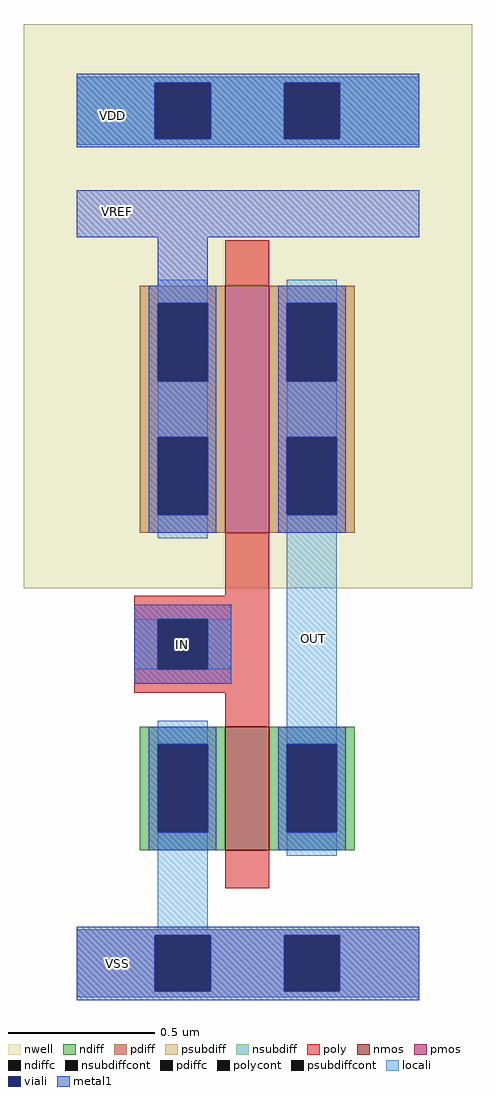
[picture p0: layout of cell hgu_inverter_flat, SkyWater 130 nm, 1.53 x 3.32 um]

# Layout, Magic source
magic
tech sky130A
magscale 1 2
<< nwell >>
rect 379 440 684 824
<< nmos >>
rect 516 262 546 346
<< pmos >>
rect 516 478 546 646
<< ndiff >>
rect 458 334 516 346
rect 458 274 470 334
rect 504 274 516 334
rect 458 262 516 274
rect 546 334 604 346
rect 546 274 558 334
rect 592 274 604 334
rect 546 262 604 274
<< pdiff >>
rect 458 634 516 646
rect 458 581 470 634
rect 504 581 516 634
rect 458 543 516 581
rect 458 490 470 543
rect 504 490 516 543
rect 458 478 516 490
rect 546 634 604 646
rect 546 581 558 634
rect 592 581 604 634
rect 546 543 604 581
rect 546 490 558 543
rect 592 490 604 543
rect 546 478 604 490
<< ndiffc >>
rect 470 274 504 334
rect 558 274 592 334
<< pdiffc >>
rect 470 581 504 634
rect 470 490 504 543
rect 558 581 592 634
rect 558 490 592 543
<< psubdiff >>
rect 415 204 648 208
rect 415 166 468 204
rect 506 166 556 204
rect 594 166 648 204
rect 415 162 648 166
<< nsubdiff >>
rect 415 784 648 788
rect 415 746 468 784
rect 506 746 556 784
rect 594 746 648 784
rect 415 742 648 746
<< psubdiffcont >>
rect 468 166 506 204
rect 556 166 594 204
<< nsubdiffcont >>
rect 468 746 506 784
rect 556 746 594 784
<< poly >>
rect 516 646 546 677
rect 516 435 546 478
rect 454 419 546 435
rect 454 385 470 419
rect 504 385 546 419
rect 454 369 546 385
rect 516 346 546 369
rect 516 236 546 262
<< polycont >>
rect 470 385 504 419
<< locali >>
rect 415 784 648 788
rect 415 746 468 784
rect 506 746 556 784
rect 594 746 648 784
rect 415 742 648 746
rect 470 634 504 650
rect 470 543 504 581
rect 470 474 504 490
rect 558 634 592 650
rect 558 543 592 581
rect 454 385 470 419
rect 504 385 520 419
rect 470 334 504 350
rect 470 208 504 274
rect 558 334 592 490
rect 558 258 592 274
rect 415 204 648 208
rect 415 166 468 204
rect 506 166 556 204
rect 594 166 648 204
rect 415 162 648 166
<< viali >>
rect 468 746 506 784
rect 556 746 594 784
rect 470 581 504 634
rect 470 490 504 543
rect 558 581 592 634
rect 558 490 592 543
rect 470 385 504 419
rect 470 274 504 334
rect 558 274 592 334
rect 468 166 506 204
rect 556 166 594 204
<< metal1 >>
rect 415 784 648 790
rect 415 746 468 784
rect 506 746 556 784
rect 594 746 648 784
rect 415 740 648 746
rect 415 679 648 711
rect 470 646 504 679
rect 464 634 510 646
rect 464 581 470 634
rect 504 581 510 634
rect 464 543 510 581
rect 464 490 470 543
rect 504 490 510 543
rect 464 478 510 490
rect 552 634 598 646
rect 552 581 558 634
rect 592 581 598 634
rect 552 543 598 581
rect 552 490 558 543
rect 592 490 598 543
rect 552 478 598 490
rect 454 419 520 429
rect 454 385 470 419
rect 504 385 520 419
rect 454 375 520 385
rect 464 334 510 346
rect 464 274 470 334
rect 504 274 510 334
rect 464 262 510 274
rect 552 334 598 346
rect 552 274 558 334
rect 592 274 598 334
rect 552 262 598 274
rect 415 204 648 210
rect 415 166 468 204
rect 506 166 556 204
rect 594 166 648 204
rect 415 160 648 166
<< labels >>
flabel locali 566 388 586 424 0 FreeSans 160 0 0 0 OUT
port 15 nsew
flabel metal1 429 689 456 704 0 FreeSans 160 0 0 0 VREF
port 19 nsew
flabel metal1 422 749 457 774 0 FreeSans 160 0 0 0 VDD
port 22 nsew
flabel metal1 426 174 460 196 0 FreeSans 160 0 0 0 VSS
port 24 nsew
flabel metal1 470 385 504 419 0 FreeSans 160 0 0 0 IN
port 26 nsew
<< end >>
